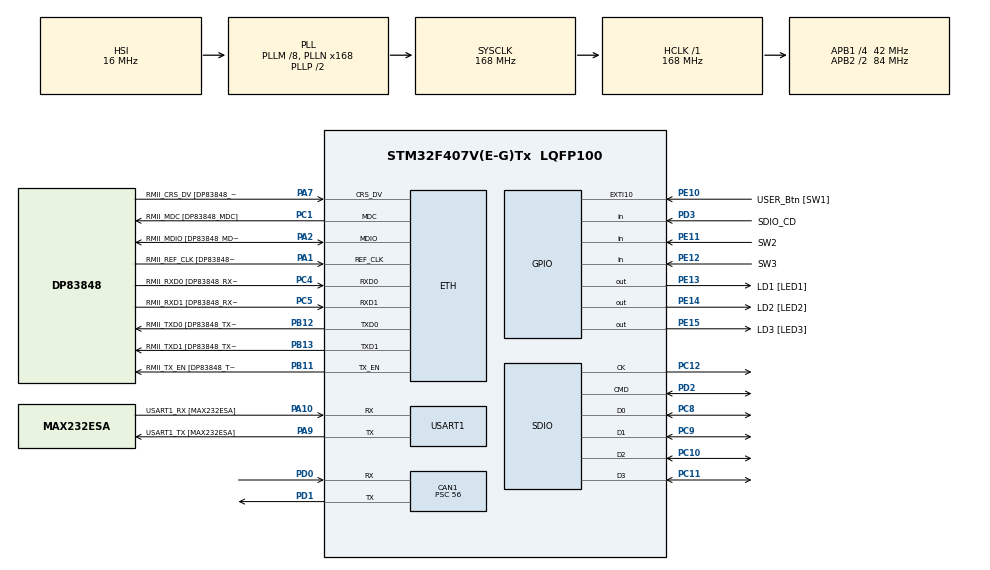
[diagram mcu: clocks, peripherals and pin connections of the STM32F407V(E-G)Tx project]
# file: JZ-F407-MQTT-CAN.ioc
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CAN1.BS1=CAN_BS1_12TQ
CAN1.BS2=CAN_BS2_2TQ
CAN1.CalculateBaudRate=49999
CAN1.CalculateTimeBit=20000
CAN1.CalculateTimeQuantum=1333.3333333333335
CAN1.Prescaler=56
CAN1.SJW=CAN_SJW_1TQ
Dma.Request0=SDIO
Dma.SDIO.0.Direction=DMA_PERIPH_TO_MEMORY
Dma.SDIO.0.FIFOMode=DMA_FIFOMODE_ENABLE
Dma.SDIO.0.FIFOThreshold=DMA_FIFO_THRESHOLD_FULL
Dma.SDIO.0.Instance=DMA2_Stream3
Dma.SDIO.0.MemBurst=DMA_MBURST_INC4
Dma.SDIO.0.MemDataAlignment=DMA_MDATAALIGN_WORD
Dma.SDIO.0.MemInc=DMA_MINC_ENABLE
Dma.SDIO.0.Mode=DMA_PFCTRL
Dma.SDIO.0.PeriphBurst=DMA_PBURST_INC4
Dma.SDIO.0.PeriphDataAlignment=DMA_PDATAALIGN_WORD
Dma.SDIO.0.PeriphInc=DMA_PINC_DISABLE
Dma.SDIO.0.Priority=DMA_PRIORITY_LOW
ETH.MACAddr=02\:00\:00\:00\:F4\:07
ETH.MediaInterface=HAL_ETH_RMII_MODE
FATFS.BSP.number=1
FATFS.USE_DMA_CODE_SD=1
FATFS._USE_LFN=2
FATFS0.BSP.STBoard=false
FATFS0.BSP.api=Unknown
FATFS0.BSP.instance=PD3
FATFS0.BSP.ip=GPIO
FATFS0.BSP.mode=Input
FATFS0.BSP.name=Detect_SDIO
FATFS0.BSP.solution=PD3
FREERTOS.BinarySemaphores01=BinarySemButton,Static,BinarySemButtonControlBlock;BinarySemLCD,Static,BinarySemLCDControlBlock
FREERTOS.HEAP_NUMBER=3
FREERTOS.Mutexes01=logMutex,Static,logMutexControlBlock;putMqttMutex,Static,putMqttMutexControlBlock
FREERTOS.Queues01=QueueRxCan,32,36,1,Static,QueueRxCanBuffer,QueueRxCanControlBlock;QueueTxMqtt,16,100,1,Static,QueueTxMqttBuffer,QueueTxMqttControlBlock;QueueTxCan,32,32,1,Static,QueueTxCanBuffer,QueueTxCanControlBlock
FREERTOS.Tasks01=defaultTask,24,1024,StartDefaultTask,Default,NULL,Static,defaultTaskBuffer,defaultTaskControlBlock;TaskButton,8,1024,StartTaskButton,Default,NULL,Static,TaskButtonBuffer,TaskButtonControlBlock;TaskCan,24,1024,StartTaskCan,Default,NULL,Dynamic,NULL,NULL;TaskMQTT,25,1024,StartTaskMQTT,Default,NULL,Static,TaskMQTTBuffer,TaskMQTTControlBlock
FREERTOS.configCHECK_FOR_STACK_OVERFLOW=2
FREERTOS.configGENERATE_RUN_TIME_STATS=1
FREERTOS.configMINIMAL_STACK_SIZE=1024
FREERTOS.configTIMER_TASK_STACK_DEPTH=2048
FREERTOS.configTOTAL_HEAP_SIZE=0x2000
FREERTOS.configUSE_NEWLIB_REENTRANT=1
FREERTOS.configUSE_STATS_FORMATTING_FUNCTIONS=1
IWDG.Prescaler=IWDG_PRESCALER_32
IWDG.Reload=4095
LWIP.API_LIB_DEBUG=LWIP_DBG_OFF
LWIP.API_MSG_DEBUG=LWIP_DBG_OFF
LWIP.BSP.number=1
LWIP.CMSIS_VERSION-Enabled=1
LWIP.DEFAULT_ACCEPTMBOX_SIZE=12
LWIP.DEFAULT_THREAD_PRIO=24
LWIP.DEFAULT_THREAD_STACKSIZE=1024
LWIP.ETHARP_DEBUG=LWIP_DBG_OFF
LWIP.ETHARP_STATS=0
LWIP.GATEWAY_ADDRESS=192.168.001.001
LWIP.HTTPD_DEBUG=LWIP_DBG_OFF
LWIP.HTTPD_DEBUG_TIMING=LWIP_DBG_OFF
LWIP.ICMP_DEBUG=LWIP_DBG_OFF
LWIP.ICMP_STATS=0
LWIP.IGMP_DEBUG=LWIP_DBG_OFF
LWIP.INET_DEBUG=LWIP_DBG_OFF
LWIP.IPFRAG_STATS=0
LWIP.IP_ADDRESS=192.168.001.249
LWIP.IP_DEBUG=LWIP_DBG_OFF
LWIP.IP_REASS_DEBUG=LWIP_DBG_OFF
LWIP.IP_STATS=0
LWIP.LINK_STATS=0
LWIP.LWIP_DBG_MIN_LEVEL=LWIP_DBG_LEVEL_WARNING
LWIP.LWIP_DBG_TYPES_ON=LWIP_DBG_ON
LWIP.LWIP_DHCP=0
LWIP.LWIP_HTTPD=1
LWIP.LWIP_HTTPD_CGI=1
LWIP.LWIP_HTTPD_CUSTOM_FILES=0
LWIP.LWIP_HTTPD_SSI=1
LWIP.LWIP_SNTP=1
LWIP.LWIP_STATS=1
LWIP.LWIP_STATS_DISPLAY=1
LWIP.MEMP_DEBUG=LWIP_DBG_ON
LWIP.MEMP_MEM_MALLOC=0
LWIP.MEMP_NUM_SYS_TIMEOUT=13
LWIP.MEMP_NUM_TCPIP_MSG_INPKT=16
LWIP.MEMP_NUM_TCP_PCB=40
LWIP.MEMP_NUM_TCP_PCB_LISTEN=16
LWIP.MEMP_NUM_UDP_PCB=200
LWIP.MEM_DEBUG=LWIP_DBG_ON
LWIP.MEM_LIBC_MALLOC=0
LWIP.MEM_SIZE=10*1024
LWIP.NETIF_DEBUG=LWIP_DBG_OFF
LWIP.NETMASK_ADDRESS=255.255.255.000
LWIP.PBUF_DEBUG=LWIP_DBG_OFF
LWIP.RAW_DEBUG=LWIP_DBG_OFF
LWIP.RECV_BUFSIZE_DEFAULT=2147483647
LWIP.SLIPIF_THREAD_STACKSIZE=1024
LWIP.SOCKETS_DEBUG=LWIP_DBG_OFF
LWIP.SYS_DEBUG=LWIP_DBG_ON
LWIP.TCPIP_MBOX_SIZE=12
LWIP.TCPIP_THREAD_STACKSIZE=4096
LWIP.TCP_CWND_DEBUG=LWIP_DBG_OFF
LWIP.TCP_DEBUG=LWIP_DBG_OFF
LWIP.TCP_FR_DEBUG=LWIP_DBG_OFF
LWIP.TCP_INPUT_DEBUG=LWIP_DBG_OFF
LWIP.TCP_OUTPUT_DEBUG=LWIP_DBG_OFF
LWIP.TCP_RTO_DEBUG=LWIP_DBG_OFF
LWIP.TCP_WND_DEBUG=LWIP_DBG_OFF
LWIP.TIMERS_DEBUG=LWIP_DBG_OFF
LWIP.UDP_STATS=0
LWIP.Version=v2.1.2_Cube
LWIP0.BSP.STBoard=false
LWIP0.BSP.api=BSP_COMPONENT_DRIVER
LWIP0.BSP.component=DP83848
LWIP0.BSP.instance=DP83848
LWIP0.BSP.name=Driver_PHY
LWIP0.BSP.semaphore=S_DP83848
LWIP0.BSP.solution=DP83848
Mcu.Family=STM32F4
Mcu.Name=STM32F407V(E-G)Tx
Mcu.Package=LQFP100
NVIC.CAN1_RX0_IRQn=true\:5\:0\:false\:false\:true\:true\:true\:true\:true
NVIC.DMA2_Stream3_IRQn=true\:5\:0\:false\:false\:true\:true\:false\:true\:true
NVIC.ETH_IRQn=true\:5\:0\:false\:false\:true\:true\:false\:true\:true
NVIC.ETH_WKUP_IRQn=true\:5\:0\:false\:false\:true\:true\:true\:true\:true
NVIC.EXTI15_10_IRQn=true\:5\:0\:false\:false\:true\:true\:true\:true\:true
NVIC.PriorityGroup=NVIC_PRIORITYGROUP_4
NVIC.SDIO_IRQn=true\:5\:0\:false\:false\:true\:true\:false\:true\:true
NVIC.TIM1_UP_TIM10_IRQn=true\:15\:0\:false\:false\:true\:false\:false\:true\:true
NVIC.TimeBase=TIM1_UP_TIM10_IRQn
NVIC.TimeBaseIP=TIM1
PA1.GPIO_Label=RMII_REF_CLK [DP83848_REFCLK0]
PA1.Mode=RMII
PA1.Signal=ETH_REF_CLK
PA10.GPIO_Label=USART1_RX [MAX232ESA]
PA10.Mode=Asynchronous
PA10.Signal=USART1_RX
PA13.GPIO_Label=TMS
PA13.Mode=Trace_Asynchronous_SW
PA13.Signal=SYS_JTMS-SWDIO
PA14.GPIO_Label=TCK
PA14.Mode=Trace_Asynchronous_SW
PA14.Signal=SYS_JTCK-SWCLK
PA2.GPIO_Label=RMII_MDIO [DP83848_MDIO]
PA2.Mode=RMII
PA2.Signal=ETH_MDIO
PA7.GPIO_Label=RMII_CRS_DV [DP83848_CRS_DV]
PA7.Mode=RMII
PA7.Signal=ETH_CRS_DV
PA9.GPIO_Label=USART1_TX [MAX232ESA]
PA9.Mode=Asynchronous
PA9.Signal=USART1_TX
PB11.GPIO_Label=RMII_TX_EN [DP83848_TXEN]
PB11.Mode=RMII
PB11.Signal=ETH_TX_EN
PB12.GPIO_Label=RMII_TXD0 [DP83848_TXD0]
PB12.Mode=RMII
PB12.Signal=ETH_TXD0
PB13.GPIO_Label=RMII_TXD1 [DP83848_TXD1]
PB13.Mode=RMII
PB13.Signal=ETH_TXD1
PB3.GPIO_Label=SWO
PB3.Mode=Trace_Asynchronous_SW
PB3.Signal=SYS_JTDO-SWO
PC1.GPIO_Label=RMII_MDC [DP83848_MDC]
PC1.Mode=RMII
PC1.Signal=ETH_MDC
PC10.Mode=SD_4_bits_Wide_bus
PC10.Signal=SDIO_D2
PC11.Mode=SD_4_bits_Wide_bus
PC11.Signal=SDIO_D3
PC12.Mode=SD_4_bits_Wide_bus
PC12.Signal=SDIO_CK
PC14-OSC32_IN.Mode=LSE-External-Oscillator
PC14-OSC32_IN.Signal=RCC_OSC32_IN
PC15-OSC32_OUT.Mode=LSE-External-Oscillator
PC15-OSC32_OUT.Signal=RCC_OSC32_OUT
PC4.GPIO_Label=RMII_RXD0 [DP83848_RXD0]
PC4.Mode=RMII
PC4.Signal=ETH_RXD0
PC5.GPIO_Label=RMII_RXD1 [DP83848_RXD1]
PC5.Mode=RMII
PC5.Signal=ETH_RXD1
PC8.Mode=SD_4_bits_Wide_bus
PC8.Signal=SDIO_D0
PC9.Mode=SD_4_bits_Wide_bus
PC9.Signal=SDIO_D1
PD0.GPIO_PuPd=GPIO_NOPULL
PD0.Mode=CAN_Activate
PD0.Signal=CAN1_RX
PD1.GPIO_PuPd=GPIO_NOPULL
PD1.Mode=CAN_Activate
PD1.Signal=CAN1_TX
PD2.Mode=SD_4_bits_Wide_bus
PD2.Signal=SDIO_CMD
PD3.GPIO_Label=SDIO_CD
PD3.GPIO_PuPd=GPIO_PULLUP
PD3.Signal=GPIO_Input
PE10.GPIO_Label=USER_Btn [SW1]
PE10.GPIO_ModeDefaultEXTI=GPIO_MODE_IT_RISING
PE10.Signal=GPXTI10
PE11.GPIO_Label=SW2
PE11.Signal=GPIO_Input
PE12.GPIO_Label=SW3
PE12.Signal=GPIO_Input
PE13.GPIO_Label=LD1 [LED1]
PE13.PinState=GPIO_PIN_SET
PE13.Signal=GPIO_Output
PE14.GPIO_Label=LD2 [LED2]
PE14.PinState=GPIO_PIN_SET
PE14.Signal=GPIO_Output
PE15.GPIO_Label=LD3 [LED3]
PE15.PinState=GPIO_PIN_SET
PE15.Signal=GPIO_Output
PH0-OSC_IN.Mode=HSE-External-Oscillator
PH0-OSC_IN.Signal=RCC_OSC_IN
PH1-OSC_OUT.Mode=HSE-External-Oscillator
PH1-OSC_OUT.Signal=RCC_OSC_OUT
ProjectManager.HeapSize=0x2000
ProjectManager.StackSize=0x4000
ProjectManager.TargetToolchain=CMake
RCC.48MHZClocksFreq_Value=48000000
RCC.AHBFreq_Value=168000000
RCC.APB1CLKDivider=RCC_HCLK_DIV4
RCC.APB1Freq_Value=42000000
RCC.APB1TimFreq_Value=84000000
RCC.APB2CLKDivider=RCC_HCLK_DIV2
RCC.APB2Freq_Value=84000000
RCC.APB2TimFreq_Value=168000000
RCC.CortexFreq_Value=168000000
RCC.HCLKFreq_Value=168000000
RCC.HSE_VALUE=25000000
RCC.HSI_VALUE=16000000
RCC.PLLM=8
RCC.PLLN=168
RCC.PLLQ=7
RCC.RCC_RTC_Clock_Source=RCC_RTCCLKSOURCE_LSE
RCC.RCC_RTC_Clock_SourceVirtual=RCC_RTCCLKSOURCE_LSE
RCC.SYSCLKFreq_VALUE=168000000
RCC.SYSCLKSource=RCC_SYSCLKSOURCE_PLLCLK
RCC.VCOOutputFreq_Value=336000000
RTC.AsynchPrediv=127
RTC.HourFormat=RTC_HOURFORMAT_24
RTC.SynchPrediv=255
SDIO.ClockDiv=3
USART1.VirtualMode=VM_ASYNC
VP_FATFS_VS_SDIO.Mode=SDIO
VP_FREERTOS_VS_CMSIS_V2.Mode=CMSIS_V2
VP_IWDG_VS_IWDG.Mode=IWDG_Activate
VP_LWIP_VS_Enabled.Mode=Enabled
VP_RTC_VS_RTC_Activate.Mode=RTC_Enabled
VP_RTC_VS_RTC_Calendar.Mode=RTC_Calendar
VP_SYS_VS_tim1.Mode=TIM1
board=custom

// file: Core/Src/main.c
/* USER CODE BEGIN Header */
/**
  ******************************************************************************
  * @file           : main.c
  * @brief          : Main program body
  ******************************************************************************
  * @attention
  *
  * <h2><center>&copy; Copyright (c) 2021 STMicroelectronics.
  * All rights reserved.</center></h2>
  *
  * This software component is licensed by ST under BSD 3-Clause license,
  * the "License"; You may not use this file except in compliance with the
  * License. You may obtain a copy of the License at:
  *                        opensource.org/licenses/BSD-3-Clause
  *
  ******************************************************************************
  *  Kalkulator tme quantum
  *  http://www.bittiming.can-wiki.info/
  ******************************************************************************
  */

/* Projekt się zawiesza po pewnym czasie nawet po kilunastu minutach wyskakuje do HardFault_Handler
 *
 * 10.05.2022 10:00 wykomentowane operacje lwip , httpd, mqtt, can, lcd i jest ok działa już 8000 sec ponad dwie godziny.
 * 10.05.2022 13:00 uruchomiono lcd, jest ok 6700 sec
 * 10.05.2022 13:00 uruchamiam can
 *
 *
 *
 */

//#define LWIP_PLATFORM_DIAG(message) printf(message)

//#define LWIP_DEBUG                      1
//#define MQTT_DEBUG											1

//#define LWIP_DBG_TYPES_ON    (LWIP_DBG_ON | LWIP_DBG_TRACE)

/* USER CODE END Header */
#include "main.h"
#include "cmsis_os.h"
#include "can.h"
#include "dma.h"
#include "fatfs.h"
#include "iwdg.h"
#include "lwip.h"
#include "rtc.h"
#include "sdio.h"
#include "usart.h"
#include "gpio.h"

/* USER CODE BEGIN Includes */

#include "my_log.h"
#include <stdio.h>

/* USER CODE END Includes */

void SystemClock_Config(void);
void MX_FREERTOS_Init(void);

/* USER CODE BEGIN 0 */

int _write(int file,char *ptr, int len)
{
  (void)file;

  if (len <= 0)
  {
    return len;
  }

  if (HAL_UART_Transmit(&huart1, (uint8_t *)ptr, (uint16_t)len, 1000U) != HAL_OK)
  {
    return -1;
  }

  return len;
}

/* USER CODE END 0 */

int main(void)
{

  /* MCU Configuration--------------------------------------------------------*/

  /* Reset of all peripherals, Initializes the Flash interface and the Systick. */
  HAL_Init();

  /* Configure the system clock */
  SystemClock_Config();

  /* USER CODE BEGIN SysInit */

	set_stime();

  /* USER CODE END SysInit */

  /* Initialize all configured peripherals */
  MX_GPIO_Init();
  MX_DMA_Init();
  MX_USART1_UART_Init();
  MX_CAN1_Init();
  MX_SDIO_SD_Init();
  MX_FATFS_Init();
  MX_IWDG_Init();
  MX_RTC_Init();

  /* Init scheduler */
  osKernelInitialize();  /* Call init function for freertos objects (in cmsis_os2.c) */
  MX_FREERTOS_Init();

  /* Start scheduler */
  osKernelStart();

  /* We should never get here as control is now taken by the scheduler */

  /* Infinite loop */
  while (1)
  {

  }
}

void SystemClock_Config(void)
{
  RCC_OscInitTypeDef RCC_OscInitStruct = {0};
  RCC_ClkInitTypeDef RCC_ClkInitStruct = {0};

  /** Configure the main internal regulator output voltage
  */
  __HAL_RCC_PWR_CLK_ENABLE();
  __HAL_PWR_VOLTAGESCALING_CONFIG(PWR_REGULATOR_VOLTAGE_SCALE1);

  /** Initializes the RCC Oscillators according to the specified parameters
  * in the RCC_OscInitTypeDef structure.
  */
  RCC_OscInitStruct.OscillatorType = RCC_OSCILLATORTYPE_HSI|RCC_OSCILLATORTYPE_LSI
                              |RCC_OSCILLATORTYPE_LSE;
  RCC_OscInitStruct.LSEState = RCC_LSE_ON;
  RCC_OscInitStruct.HSIState = RCC_HSI_ON;
  RCC_OscInitStruct.HSICalibrationValue = RCC_HSICALIBRATION_DEFAULT;
  RCC_OscInitStruct.LSIState = RCC_LSI_ON;
  RCC_OscInitStruct.PLL.PLLState = RCC_PLL_ON;
  RCC_OscInitStruct.PLL.PLLSource = RCC_PLLSOURCE_HSI;
  RCC_OscInitStruct.PLL.PLLM = 8;
  RCC_OscInitStruct.PLL.PLLN = 168;
  RCC_OscInitStruct.PLL.PLLP = RCC_PLLP_DIV2;
  RCC_OscInitStruct.PLL.PLLQ = 7;
  if (HAL_RCC_OscConfig(&RCC_OscInitStruct) != HAL_OK)
  {
    Error_Handler();
  }

  /** Initializes the CPU, AHB and APB buses clocks
  */
  RCC_ClkInitStruct.ClockType = RCC_CLOCKTYPE_HCLK|RCC_CLOCKTYPE_SYSCLK
                              |RCC_CLOCKTYPE_PCLK1|RCC_CLOCKTYPE_PCLK2;
  RCC_ClkInitStruct.SYSCLKSource = RCC_SYSCLKSOURCE_PLLCLK;
  RCC_ClkInitStruct.AHBCLKDivider = RCC_SYSCLK_DIV1;
  RCC_ClkInitStruct.APB1CLKDivider = RCC_HCLK_DIV4;
  RCC_ClkInitStruct.APB2CLKDivider = RCC_HCLK_DIV2;

  if (HAL_RCC_ClockConfig(&RCC_ClkInitStruct, FLASH_LATENCY_5) != HAL_OK)
  {
    Error_Handler();
  }
}

/* USER CODE BEGIN 4 */

void my_configASSERT(){
	printf("my_configASSERT\n");
	uint8_t i = 1;
	while (i)
	{
		i = 1;

	}
}

void vAssertCalled( unsigned long ulLine, const char * const pcFileName )
{
static portBASE_TYPE xPrinted = pdFALSE;
volatile uint32_t ulSetToNonZeroInDebuggerToContinue = 0;

    /* Parameters are not used. */
    ( void ) ulLine;
    ( void ) pcFileName;

    printf("vconfigASSERT file:%s, line:%d\n",pcFileName,ulLine);

 //   taskENTER_CRITICAL();
    {
        /* You can step out of this function to debug the assertion by using
        the debugger to set ulSetToNonZeroInDebuggerToContinue to a non-zero
        value. */
        while( ulSetToNonZeroInDebuggerToContinue == 0 )
        {
        }
    }
//    taskEXIT_CRITICAL();
}

/* USER CODE END 4 */

void HAL_TIM_PeriodElapsedCallback(TIM_HandleTypeDef *htim)
{
  if (htim->Instance == TIM1)
  {
    HAL_IncTick();
  }
}

void Error_Handler(void)
{
  /* USER CODE BEGIN Error_Handler_Debug */
  /* User can add his own implementation to report the HAL error return state */
	printf("Error_Hendle\n");

//stats_display();
  __disable_irq();
  while (1)
  {
  }
  /* USER CODE END Error_Handler_Debug */
}
#ifdef USE_FULL_ASSERT
/**
  * @brief  Reports the name of the source file and the source line number
  *         where the assert_param error has occurred.
  * @param  file: pointer to the source file name
  * @param  line: assert_param error line source number
  * @retval None
  */
void assert_failed(uint8_t *file, uint32_t line)
{
  /* USER CODE BEGIN 6 */
  /* User can add his own implementation to report the file name and line number,
     ex: printf("Wrong parameters value: file %s on line %d\r\n", file, line) */
  printf("Wrong parameters value: file %s on line %d\r\n", file, line);
  /* USER CODE END 6 */
}
#endif /* USE_FULL_ASSERT */

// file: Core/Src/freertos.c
/* USER CODE BEGIN Header */
/**
 ******************************************************************************
 * File Name          : freertos.c
 * Description        : Code for freertos applications
 ******************************************************************************
 * @attention
 *
 * <h2><center>&copy; Copyright (c) 2021 STMicroelectronics.
 * All rights reserved.</center></h2>
 *
 * This software component is licensed by ST under Ultimate Liberty license
 * SLA0044, the "License"; You may not use this file except in compliance with
 * the License. You may obtain a copy of the License at:
 *                             www.st.com/SLA0044
 *
 ******************************************************************************
 */
/* USER CODE END Header */

#include "FreeRTOS.h"
#include "task.h"
#include "main.h"
#include "cmsis_os.h"

/* USER CODE BEGIN Includes */
#include "stm32f4xx_hal.h"
#include "stdio.h"
#include "my_log.h"
#include "my_time.h"
#include "rtc.h"
#include "my_can.h"
#include "iwdg.h"
#include "mqtt.h"
#include "my_mqtt.h"
//#include "eeprom.h"
#include "httpd.h"
#include "my_httpd.h"
#include "fatfs.h"
#include "fatfs_platform.h"

#include "netif.h"
#include "lwip/tcpip.h"
#include "string.h"

/* USER CODE END Includes */

typedef StaticTask_t osStaticThreadDef_t;
typedef StaticQueue_t osStaticMessageQDef_t;
/* USER CODE BEGIN PTD */

// ostatnia zajeta komorka FLASH w Buider Analizer to impure_data 0x0801ed98  96 bajtów (0x60)  = 1 EDF8

//VirtAddVarTab[NB_OF_VAR] = {0x5555, 0x6666, 0x7777};
//uint16_t resets = 0;

uint8_t LWIP_Init_flag = 0;

/* USER CODE END PTD */

/* USER CODE BEGIN Variables */
static volatile uint32_t can_rx_read_errors;
static volatile uint32_t can_rx_queue_drops;
static uint32_t sd_task_stack[1024];
static osStaticThreadDef_t sd_task_control_block;
static const osThreadAttr_t sd_task_attributes = {
  .name = "SDCardTask",
  .cb_mem = &sd_task_control_block,
  .cb_size = sizeof(sd_task_control_block),
  .stack_mem = sd_task_stack,
  .stack_size = sizeof(sd_task_stack),
  .priority = osPriorityLow,
};
_Static_assert(sizeof(MsgQRxCan_t) == 36U, "Update CubeMX CAN RX queue item size");
_Static_assert(sizeof(MsgQTxCan_t) == 32U, "Update CubeMX CAN TX queue item size");
/* USER CODE END Variables */
/* Definitions for defaultTask */
osThreadId_t defaultTaskHandle;
uint32_t defaultTaskBuffer[ 1024 ];
osStaticThreadDef_t defaultTaskControlBlock;
const osThreadAttr_t defaultTask_attributes = {
  .name = "defaultTask",
  .cb_mem = &defaultTaskControlBlock,
  .cb_size = sizeof(defaultTaskControlBlock),
  .stack_mem = &defaultTaskBuffer[0],
  .stack_size = sizeof(defaultTaskBuffer),
  .priority = (osPriority_t) osPriorityNormal,
};
/* Definitions for TaskButton */
osThreadId_t TaskButtonHandle;
uint32_t TaskButtonBuffer[ 1024 ];
osStaticThreadDef_t TaskButtonControlBlock;
const osThreadAttr_t TaskButton_attributes = {
  .name = "TaskButton",
  .cb_mem = &TaskButtonControlBlock,
  .cb_size = sizeof(TaskButtonControlBlock),
  .stack_mem = &TaskButtonBuffer[0],
  .stack_size = sizeof(TaskButtonBuffer),
  .priority = (osPriority_t) osPriorityLow,
};
/* Definitions for TaskCan */
osThreadId_t TaskCanHandle;
const osThreadAttr_t TaskCan_attributes = {
  .name = "TaskCan",
  .stack_size = 1024 * 4,
  .priority = (osPriority_t) osPriorityNormal,
};
/* Definitions for TaskMQTT */
osThreadId_t TaskMQTTHandle;
uint32_t TaskMQTTBuffer[ 1024 ];
osStaticThreadDef_t TaskMQTTControlBlock;
const osThreadAttr_t TaskMQTT_attributes = {
  .name = "TaskMQTT",
  .cb_mem = &TaskMQTTControlBlock,
  .cb_size = sizeof(TaskMQTTControlBlock),
  .stack_mem = &TaskMQTTBuffer[0],
  .stack_size = sizeof(TaskMQTTBuffer),
  .priority = (osPriority_t) osPriorityNormal1,
};
/* Definitions for QueueRxCan */
osMessageQueueId_t QueueRxCanHandle;
uint8_t QueueRxCanBuffer[ 32 * 36 ];
osStaticMessageQDef_t QueueRxCanControlBlock;
const osMessageQueueAttr_t QueueRxCan_attributes = {
  .name = "QueueRxCan",
  .cb_mem = &QueueRxCanControlBlock,
  .cb_size = sizeof(QueueRxCanControlBlock),
  .mq_mem = &QueueRxCanBuffer,
  .mq_size = sizeof(QueueRxCanBuffer)
};
/* Definitions for QueueTxMqtt */
osMessageQueueId_t QueueTxMqttHandle;
uint8_t QueueTxMqttBuffer[ 16 * 100 ];
osStaticMessageQDef_t QueueTxMqttControlBlock;
const osMessageQueueAttr_t QueueTxMqtt_attributes = {
  .name = "QueueTxMqtt",
  .cb_mem = &QueueTxMqttControlBlock,
  .cb_size = sizeof(QueueTxMqttControlBlock),
  .mq_mem = &QueueTxMqttBuffer,
  .mq_size = sizeof(QueueTxMqttBuffer)
};
/* Definitions for QueueTxCan */
osMessageQueueId_t QueueTxCanHandle;
uint8_t QueueTxCanBuffer[ 32 * 32 ];
osStaticMessageQDef_t QueueTxCanControlBlock;
const osMessageQueueAttr_t QueueTxCan_attributes = {
  .name = "QueueTxCan",
  .cb_mem = &QueueTxCanControlBlock,
  .cb_size = sizeof(QueueTxCanControlBlock),
  .mq_mem = &QueueTxCanBuffer,
  .mq_size = sizeof(QueueTxCanBuffer)
};
/* Definitions for logMutex */
osMutexId_t logMutexHandle;
const osMutexAttr_t logMutex_attributes = {
  .name = "logMutex"
};
/* Definitions for putMqttMutex */
osMutexId_t putMqttMutexHandle;
const osMutexAttr_t putMqttMutex_attributes = {
  .name = "putMqttMutex"
};
/* Definitions for BinarySemButton */
osSemaphoreId_t BinarySemButtonHandle;
const osSemaphoreAttr_t BinarySemButton_attributes = {
  .name = "BinarySemButton"
};
/* Definitions for BinarySemLCD */
osSemaphoreId_t BinarySemLCDHandle;
const osSemaphoreAttr_t BinarySemLCD_attributes = {
  .name = "BinarySemLCD"
};

/* USER CODE BEGIN FunctionPrototypes */

static void StartSDTask(void *argument);
static void RunSDCardTest(void);
static FRESULT AppendSDLogLine(FIL *file, const char *line);

void HAL_GPIO_EXTI_Callback(uint16_t GPIO_Pin) {
	if (GPIO_Pin == USER_Btn_Pin) {
		osSemaphoreRelease(BinarySemButtonHandle);
	}
}

void HAL_CAN_RxFifo0MsgPendingCallback(CAN_HandleTypeDef *hcan) {
	MsgQRxCan_t msg_can;
	osStatus_t status;
	uint8_t data[8] = {0};
	_Static_assert(sizeof(msg_can.RxData) == sizeof(data), "CAN payload must be 8 bytes");
	HAL_StatusTypeDef rx_status = HAL_CAN_GetRxMessage(hcan, CAN_RX_FIFO0, &msg_can.RxHeader, data);
	if (rx_status != HAL_OK) {
		can_rx_read_errors++;
		return;
	}
	memcpy(&msg_can.RxData, data, sizeof(data));
	status = osMessageQueuePut(QueueRxCanHandle, &msg_can, 0U, 0U);
	if (status != osOK) {
		can_rx_queue_drops++;
	}
}

static void StartHttpServer(void *argument)
{
	(void)argument;
	httpd_init();
	myCGIinit();
	mySSIinit();
}

/* USER CODE END FunctionPrototypes */

void StartDefaultTask(void *argument);
void StartTaskButton(void *argument);
void StartTaskCan(void *argument);
void StartTaskMQTT(void *argument);

extern void MX_LWIP_Init(void);
void MX_FREERTOS_Init(void); /* (MISRA C 2004 rule 8.1) */

/* Hook prototypes */
void configureTimerForRunTimeStats(void);
unsigned long getRunTimeCounterValue(void);
void vApplicationStackOverflowHook(xTaskHandle xTask, signed char *pcTaskName);

/* USER CODE BEGIN 1 */
/* Functions needed when configGENERATE_RUN_TIME_STATS is on */
__weak void configureTimerForRunTimeStats(void)
{

}

__weak unsigned long getRunTimeCounterValue(void)
{
return 0;
}
/* USER CODE END 1 */

/* USER CODE BEGIN 4 */
static void LogFatFsError(const char *operation, FRESULT result)
{
	char message[LOG_LEN];
	snprintf(message, sizeof(message), "SD %s failed: %u", operation, (unsigned)result);
	log_put(message);
}

static void RunSDCardTest(void)
{
	char test_path[20];
	int path_length = snprintf(test_path, sizeof(test_path), "%sSDTEST.TXT", SDPath);
	if (path_length < 0 || (size_t)path_length >= sizeof(test_path)) {
		log_put("SD test path too long");
		return;
	}

	FIL file;
	FRESULT result = f_open(&file, test_path, FA_READ);
	if (result == FR_OK) {
		uint8_t buffer[32];
		UINT bytes_read = 0U;
		result = f_read(&file, buffer, (UINT)sizeof(buffer), &bytes_read);
		FRESULT close_result = f_close(&file);
		if (result != FR_OK) {
			LogFatFsError("test file read", result);
		}
		if (close_result != FR_OK) {
			LogFatFsError("test file close", close_result);
		}
		if (result == FR_OK && close_result == FR_OK) {
			log_put("SDTEST.TXT read; existing file preserved");
		}
		return;
	}
	if (result != FR_NO_FILE) {
		LogFatFsError("test file open", result);
		return;
	}

	result = f_open(&file, test_path, (BYTE)(FA_WRITE | FA_CREATE_NEW));
	if (result != FR_OK) {
		LogFatFsError("test file create", result);
		return;
	}

	static const uint8_t test_data[] = "DS-CAN SD test\r\n";
	const UINT test_data_size = (UINT)(sizeof(test_data) - 1U);
	UINT bytes_written = 0U;
	result = f_write(&file, test_data, test_data_size, &bytes_written);
	FRESULT close_result = f_close(&file);
	if (result != FR_OK) {
		LogFatFsError("test file write", result);
	}
	if (bytes_written != test_data_size && result == FR_OK) {
		log_put("SD test file short write");
	}
	if (close_result != FR_OK) {
		LogFatFsError("test file close", close_result);
	}
	if (result == FR_OK && bytes_written == test_data_size && close_result == FR_OK) {
		log_put("SDTEST.TXT created and written");
	}
}

static FRESULT AppendSDLogLine(FIL *file, const char *line)
{
	size_t line_length = strlen(line);
	UINT bytes_written = 0U;
	FRESULT result = f_write(file, line, (UINT)line_length, &bytes_written);
	if (result == FR_OK && bytes_written != (UINT)line_length) {
		return FR_DISK_ERR;
	}
	return result;
}

static void StartSDTask(void *argument)
{
	(void)argument;
	if (retSD != 0U) {
		log_put("SD driver link failed");
		osThreadExit();
		return;
	}

	bool card_missing_reported = false;
	bool mount_error_reported = false;
	bool log_open_error_reported = false;
	bool log_write_error_reported = false;
	uint32_t reported_drops = 0U;
	for (;;) {
		if (BSP_PlatformIsDetected() != SD_PRESENT) {
			if (!card_missing_reported) {
				log_put("SD card not detected; waiting for insertion");
				card_missing_reported = true;
			}
			osDelay(500U);
			continue;
		}
		card_missing_reported = false;

		FRESULT result = f_mount(&SDFatFS, SDPath, 1U);
		if (result != FR_OK) {
			if (!mount_error_reported) {
				LogFatFsError("mount", result);
				mount_error_reported = true;
			}
			osDelay(1000U);
			continue;
		}
		mount_error_reported = false;
		log_put("SD FAT volume mounted");

		DWORD free_clusters = 0U;
		FATFS *filesystem = &SDFatFS;
		result = f_getfree(SDPath, &free_clusters, &filesystem);
		if (result != FR_OK) {
			LogFatFsError("space check", result);
		} else {
			char free_space_message[LOG_LEN];
			snprintf(free_space_message, sizeof(free_space_message),
			         "SD free clusters: %lu", (unsigned long)free_clusters);
			log_put(free_space_message);
		}

		RunSDCardTest();

		FIL log_file;
		bool file_open = false;
		uint32_t file_date = 0U;
		uint32_t last_sync = HAL_GetTick();
		bool file_dirty = false;
		for (;;) {
			if (BSP_PlatformIsDetected() != SD_PRESENT) {
				log_put("SD card removed; logging paused");
				break;
			}

			LogSDEntry entry;
			if (log_sd_queue_get(&entry, 100U)) {
				if (!file_open || file_date != entry.date) {
					if (file_open) {
						result = f_close(&log_file);
						file_open = false;
						if (result != FR_OK) {
							LogFatFsError("daily log close", result);
							break;
						}
					}
					char log_path[32];
					int length;
					if (entry.date == 0U) {
						length = snprintf(log_path, sizeof(log_path),
						                  "%slog_unsynced.txt", SDPath);
					} else {
						length = snprintf(log_path, sizeof(log_path),
						                  "%slog%08lu.txt", SDPath,
						                  (unsigned long)entry.date);
					}
					if (length < 0 || (size_t)length >= sizeof(log_path)) {
						log_put("SD daily log path too long");
						break;
					}
					result = f_open(&log_file, log_path, (BYTE)(FA_WRITE | FA_OPEN_APPEND));
					if (result != FR_OK) {
						if (!log_open_error_reported) {
							LogFatFsError("log open", result);
							log_open_error_reported = true;
						}
						break;
					}
					log_open_error_reported = false;
					file_open = true;
					file_date = entry.date;
					file_dirty = false;
					last_sync = HAL_GetTick();
					printf("SD append logging: %s\n", log_path);
				}
				result = AppendSDLogLine(&log_file, entry.line);
				if (result != FR_OK) {
					if (!log_write_error_reported) {
						LogFatFsError("log write", result);
						log_write_error_reported = true;
					}
					break;
				}
				log_write_error_reported = false;
				file_dirty = true;
			} else {
				uint32_t current_drops = log_sd_queue_dropped();
				uint32_t new_drops = current_drops - reported_drops;
				if (new_drops > 0U && file_open) {
					char warning[LOG_LEN];
					snprintf(warning, sizeof(warning),
					         "SD log queue dropped %lu entries\n",
					         (unsigned long)new_drops);
					result = AppendSDLogLine(&log_file, warning);
					if (result != FR_OK) {
						if (!log_write_error_reported) {
							LogFatFsError("drop report write", result);
							log_write_error_reported = true;
						}
						break;
					}
					printf("%s", warning);
					reported_drops = current_drops;
					file_dirty = true;
				}
			}

			uint32_t now = HAL_GetTick();
			if (file_dirty && (uint32_t)(now - last_sync) >= 1000U) {
				result = f_sync(&log_file);
				if (result != FR_OK) {
					if (!log_write_error_reported) {
						LogFatFsError("log sync", result);
						log_write_error_reported = true;
					}
					break;
				}
				file_dirty = false;
				last_sync = now;
			}
		}

		if (file_open) {
			FRESULT close_result = f_close(&log_file);
			if (close_result != FR_OK) {
				LogFatFsError("log close", close_result);
			}
		}
		result = f_mount(NULL, SDPath, 0U);
		if (result != FR_OK) {
			LogFatFsError("unmount", result);
		}
		osDelay(1000U);
	}
}

void vApplicationStackOverflowHook(xTaskHandle xTask, signed char *pcTaskName)
{
   /* Run time stack overflow checking is performed if
   configCHECK_FOR_STACK_OVERFLOW is defined to 1 or 2. This hook function is
   called if a stack overflow is detected. */
}
/* USER CODE END 4 */

void MX_FREERTOS_Init(void) {
  /* Create the mutex(es) */
  /* creation of logMutex */
  logMutexHandle = osMutexNew(&logMutex_attributes);

  /* creation of putMqttMutex */
  putMqttMutexHandle = osMutexNew(&putMqttMutex_attributes);

  /* USER CODE BEGIN RTOS_MUTEX */
	if (!my_time_init()) {
		Error_Handler();
	}
  /* USER CODE END RTOS_MUTEX */

  /* Create the semaphores(s) */
  /* creation of BinarySemButton */
  BinarySemButtonHandle = osSemaphoreNew(1, 0, &BinarySemButton_attributes);

  /* creation of BinarySemLCD */
  BinarySemLCDHandle = osSemaphoreNew(1, 0, &BinarySemLCD_attributes);

  /* Create the queue(s) */
  /* creation of QueueRxCan */
  QueueRxCanHandle = osMessageQueueNew (32, 36, &QueueRxCan_attributes);

  /* creation of QueueTxMqtt */
  QueueTxMqttHandle = osMessageQueueNew (16, 100, &QueueTxMqtt_attributes);

  /* creation of QueueTxCan */
  QueueTxCanHandle = osMessageQueueNew (32, 32, &QueueTxCan_attributes);

  /* USER CODE BEGIN RTOS_QUEUES */
	if (QueueRxCanHandle == NULL || QueueTxCanHandle == NULL ||
	    QueueTxMqttHandle == NULL || !log_sd_queue_init()) {
		Error_Handler();
	}
  /* USER CODE END RTOS_QUEUES */

  /* Create the thread(s) */
  /* creation of defaultTask */
  defaultTaskHandle = osThreadNew(StartDefaultTask, NULL, &defaultTask_attributes);

  /* creation of TaskButton */
  TaskButtonHandle = osThreadNew(StartTaskButton, NULL, &TaskButton_attributes);

  /* creation of TaskCan */
  TaskCanHandle = osThreadNew(StartTaskCan, NULL, &TaskCan_attributes);

  /* creation of TaskMQTT */
  TaskMQTTHandle = osThreadNew(StartTaskMQTT, NULL, &TaskMQTT_attributes);

  /* USER CODE BEGIN RTOS_THREADS */
	if (defaultTaskHandle == NULL || TaskButtonHandle == NULL ||
	    TaskCanHandle == NULL || TaskMQTTHandle == NULL) {
		Error_Handler();
	}
	if (osThreadNew(StartSDTask, NULL, &sd_task_attributes) == NULL) {
		Error_Handler();
	}
  /* USER CODE END RTOS_THREADS */

}

void StartDefaultTask(void *argument)
{
  /* init code for LWIP */
  MX_LWIP_Init();
  /* USER CODE BEGIN StartDefaultTask */
	/* Infinite loop */
	log_put(HAL_RTCEx_BKUPRead(&hrtc, RTC_BKP_DR0) == MY_TIME_RTC_MARKER ?
	        "RTC retained time; awaiting NTP refresh" :
	        "RTC not set; uptime logs until NTP sync");

	err_t http_start_status;
	do {
		http_start_status = tcpip_callback(StartHttpServer, NULL);
		if (http_start_status != ERR_OK) {
			char s[LOG_LEN];
			sprintf(s, "HTTP init queue err %d", http_start_status);
			log_put(s);
			HAL_IWDG_Refresh(&hiwdg);
			osDelay(100);
		}
	} while (http_start_status != ERR_OK);

	err_t ntp_start_status;
	do {
		ntp_start_status = tcpip_callback(my_time_start_ntp, NULL);
		if (ntp_start_status != ERR_OK) {
			log_put("NTP init queue failed; retrying");
			HAL_IWDG_Refresh(&hiwdg);
			osDelay(100U);
		}
	} while (ntp_start_status != ERR_OK);

	osDelay(1000);
  LWIP_Init_flag = 1;

/*deb*/
	{
	extern struct netif gnetif;

	u32_t local_IP = gnetif.ip_addr.addr;
	char s[LOG_LEN];
	sprintf(s, "IP %lu.%lu.%lu.%lu", (local_IP & 0xff), ((local_IP >> 8) & 0xff),
			((local_IP >> 16) & 0xff), (local_IP >> 24));
	log_put(s);
	}

/**/

//	stats_display();

	for (;;) {
		my_time_poll();
		HAL_GPIO_TogglePin(LD1_GPIO_Port, LD1_Pin);
		/* Keep the watchdog serviced while HTTP/LwIP run. */
		HAL_IWDG_Refresh(&hiwdg);
		osDelay(1000);
	}
  /* USER CODE END StartDefaultTask */
}

void StartTaskButton(void *argument)
{
  /* USER CODE BEGIN StartTaskButton */
	(void)argument;
	GPIO_PinState candidate = HAL_GPIO_ReadPin(SW3_GPIO_Port, SW3_Pin);
	GPIO_PinState stable = candidate;
	uint32_t candidate_since = HAL_GetTick();

	for (;;) {
		GPIO_PinState raw = HAL_GPIO_ReadPin(SW3_GPIO_Port, SW3_Pin);
		uint32_t now = HAL_GetTick();
		if (raw != candidate) {
			candidate = raw;
			candidate_since = now;
		} else if (candidate != stable && (uint32_t)(now - candidate_since) >= 30U) {
			stable = candidate;
			if (stable == GPIO_PIN_SET) {
				MsgQTxCan_t test_frame = {0};
				HAL_GPIO_TogglePin(LD3_GPIO_Port, LD3_Pin);
				test_frame.TxHeader.StdId = 0x108U;
				test_frame.TxHeader.IDE = CAN_ID_STD;
				test_frame.TxHeader.RTR = CAN_RTR_DATA;
				test_frame.TxHeader.DLC = 3U;
				test_frame.TxData.to = 0U;
				test_frame.TxData.fun = 100U;
				test_frame.TxData.val = 0U;
				my_can_Tx_Queue(&test_frame);
			}
		}
		osDelay(10U);
	}
  /* USER CODE END StartTaskButton */
}

void StartTaskCan(void *argument)
{
  /* USER CODE BEGIN StartTaskCan */
	/* Infinite loop */

	//deb

	while(1) {
		if (LWIP_Init_flag)
		  break;
		osDelay(10);
	}

	log_put("CAN1 init 50000 bit/s PD0=RX PD1=TX");
	if (CanConfig() != HAL_OK) {
		if (HAL_CAN_GetState(&hcan1) == HAL_CAN_STATE_LISTENING &&
		    HAL_CAN_Stop(&hcan1) != HAL_OK) {
			log_put("CAN1 stop after init failure failed");
		}
		log_put("CAN1 task stopped: init failed");
		osThreadExit();
	}
	log_put("CAN1 ready; CAN/MQTT bridge and S3 test TX enabled");

	uint32_t last_read_errors = 0;
	uint32_t last_queue_drops = 0;
	uint32_t last_hal_error = HAL_CAN_ERROR_NONE;
	uint32_t last_esr = 0;
	uint32_t status_tick = osKernelGetTickCount();
	const uint32_t tick_freq = osKernelGetTickFreq();

	for (;;) {
		MsgQRxCan_t msg_RxCan;
		osStatus_t status = osMessageQueueGet(QueueRxCanHandle, &msg_RxCan,
		                                      NULL, tick_freq / 10U);
		if (status == osOK) {
			Can_LogRx(&msg_RxCan);
			Can_RX(&msg_RxCan);
		} else if (status != osErrorTimeout) {
			char s[LOG_LEN - 12];
			snprintf(s, sizeof(s), "CAN RX queue get err %d", (int)status);
			log_put(s);
			osThreadExit();
		}

		MsgQTxCan_t msg_TxCan;
		if (osMessageQueueGet(QueueTxCanHandle, &msg_TxCan, NULL, 0U) == osOK) {
			my_can_Tx(&msg_TxCan);
		}

		uint32_t now = osKernelGetTickCount();
		if ((uint32_t)(now - status_tick) < tick_freq) {
			continue;
		}
		status_tick = now;
		uint32_t read_errors = can_rx_read_errors;
		uint32_t queue_drops = can_rx_queue_drops;
		uint32_t hal_error = HAL_CAN_GetError(&hcan1);
		uint32_t esr = hcan1.Instance->ESR &
		               (CAN_ESR_EWGF | CAN_ESR_EPVF | CAN_ESR_BOFF | CAN_ESR_LEC);
		char s[LOG_LEN - 12];
		if (read_errors != last_read_errors || queue_drops != last_queue_drops) {
			snprintf(s, sizeof(s), "CAN RX read_err=%lu queue_drop=%lu",
			         (unsigned long)read_errors, (unsigned long)queue_drops);
			log_put(s);
			last_read_errors = read_errors;
			last_queue_drops = queue_drops;
		}
		if (hal_error != last_hal_error || esr != last_esr) {
			snprintf(s, sizeof(s), "CAN1 HAL=%08lX ESR=%08lX",
			         (unsigned long)hal_error, (unsigned long)esr);
			log_put(s);
			last_hal_error = hal_error;
			last_esr = esr;
		}
	}
  /* USER CODE END StartTaskCan */
}

void StartTaskMQTT(void *argument)
{
  /* USER CODE BEGIN StartTaskMQTT */

	while(1) {
		if (LWIP_Init_flag)
		  break;
		osDelay(10);
	}

	log_put("MQTT service: CAN bridge and uptime");
	for (;;) {
		err_t status = tcpip_callback(my_mqtt_service, NULL);
		if (status != ERR_OK) {
			char s[LOG_LEN - 12];
			snprintf(s, sizeof(s), "MQTT service queue err %d", (int)status);
			log_put(s);
		}
		osDelay((osKernelGetTickFreq() + 9U) / 10U);
	}
  /* USER CODE END StartTaskMQTT */
}
